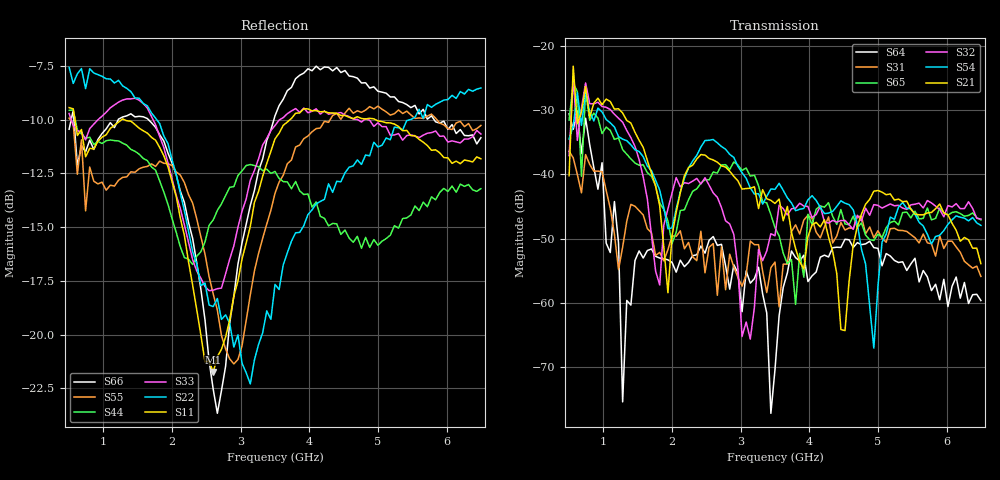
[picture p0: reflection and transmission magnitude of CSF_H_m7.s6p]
!Keysight Technologies,M9804A,MY58100912,A.14.10.03
!Date: Thursday, April 27, 2023 10:28:33
!Correction: S11(C  6-Port  )
!S12(C  6-Port  )
!S13(C  6-Port  )
!S14(C  6-Port  )
!S15(C  6-Port  )
!S16(C  6-Port  )
!S21(C  6-Port  )
!S22(C  6-Port  )
!S23(C  6-Port  )
!S24(C  6-Port  )
!S25(C  6-Port  )
!S26(C  6-Port  )
!S31(C  6-Port  )
!S32(C  6-Port  )
!S33(C  6-Port  )
!S34(C  6-Port  )
!S35(C  6-Port  )
!S36(C  6-Port  )
!S41(C  6-Port  )
!S42(C  6-Port  )
!S43(C  6-Port  )
!S44(C  6-Port  )
!S45(C  6-Port  )
!S46(C  6-Port  )
!S51(C  6-Port  )
!S52(C  6-Port  )
!S53(C  6-Port  )
!S54(C  6-Port  )
!S55(C  6-Port  )
!S56(C  6-Port  )
!S61(C  6-Port  )
!S62(C  6-Port  )
!S63(C  6-Port  )
!S64(C  6-Port  )
!S65(C  6-Port  )
!S66(C  6-Port  )
!S6P File: Measurement: :
# Hz S  RI  R 50
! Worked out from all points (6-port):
!   101 points, 500 MHz to 6.5 GHz, reference 50 ohm
!   strongest paths, dB at 500 MHz, 2 GHz, 3.5 GHz, 5 GHz, 6.5 GHz:
!     S21: -40.2, -49.5, -44.5, -42.5, -53.9
!     S54: -34.5, -48.3, -42.3, -57.4, -47.9
!     S32: -37.1, -42.9, -49.6, -44.8, -47.0
!     S65: -31.5, -50.8, -48.3, -49.3, -47.1
!     S31: -36.4, -49.6, -53.7, -48.8, -55.9
!     S64: -30.6, -53.7, -70.4, -51.5, -59.7
!   lowest |S11| = -21.7 dB at 2.6 GHz (marker M1), VSWR 1.18, Z = 42.7 + j1.95 ohm
!   |S11| at or under -10 dB: 584.2 MHz to 1.268 GHz (683.6 MHz wide, 73.8 % of centre); 1.301 GHz to 3.721 GHz (2.42 GHz wide, 96.4 % of centre); 4.962 GHz to end of sweep
